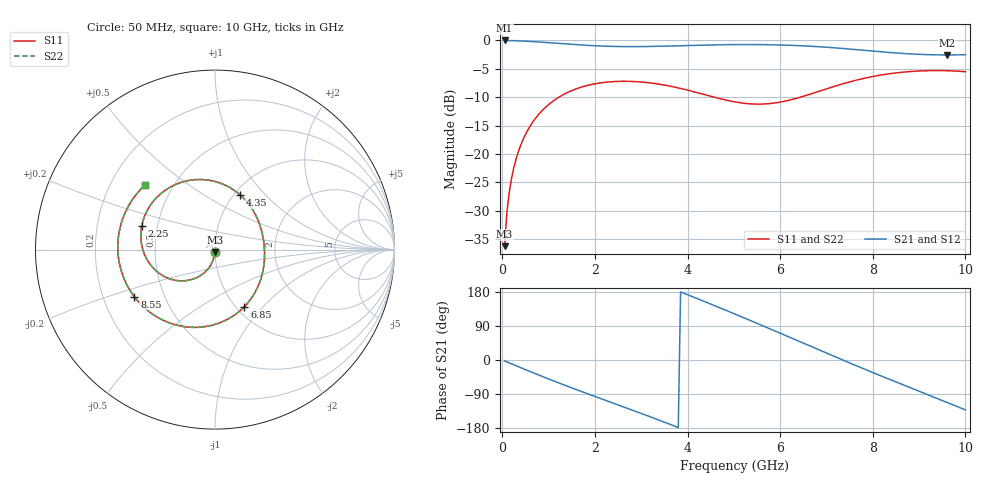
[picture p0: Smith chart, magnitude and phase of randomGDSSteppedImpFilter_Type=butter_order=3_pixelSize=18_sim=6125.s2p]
! freq	dB(S11)	phase(S11)	dB(S12)	phase(S12)
!  dB(S21)	phase(S21)	dB(S22)	phase(S22)
!S-par simulation data
#  GHz  S  DB  R 50
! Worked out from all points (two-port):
!   200 points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, 50 MHz to 10 GHz, reference 50 ohm
!   highest |S21| = 0.00 dB at 50 MHz (marker M1); lowest = -2.6 dB at 9.6 GHz (marker M2)
!   |S21| within 3 dB of the highest: start of sweep to end of sweep
!   lowest |S11| = -36.2 dB at 50 MHz (marker M3), VSWR 1.03, Z = 49.9 - j1.54 ohm
!   |S11| at or under -10 dB: start of sweep to 1.221 GHz; 4.578 GHz to 6.435 GHz (1.856 GHz wide, 33.7 % of centre)
!   |S22| runs from -36.2 to -5.3 dB; largest |S21 - S12| = 0
!   S11 on the Smith chart (normalised r, x): 50 MHz: 1.00, -0.03; 2.25 GHz: 0.41, +0.13; 4.35 GHz: 1.07, +0.73; 6.85 GHz: 1.09, -0.79; 8.55 GHz: 0.34, -0.24; 10 GHz: 0.35, +0.35
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0.05  -36.24 -92.5  -0.00 -2.6  -0.00 -2.6  -36.24 -92.5
0.1  -30.24 -95.3  -0.01 -5.2  -0.01 -5.2  -30.24 -95.3
0.2  -24.27 -100.6  -0.03 -10.3  -0.03 -10.3  -24.27 -100.6
0.5  -16.57 -116.0  -0.13 -25.4  -0.13 -25.4  -16.57 -116.0
1.1  -10.66 -145.4  -0.46 -54.8  -0.46 -54.8  -10.66 -145.4
1.75  -8.12 -175.6  -0.83 -85.0  -0.83 -85.0  -8.12 -175.6
2.25  -7.35 161.9  -1.02 -107.4  -1.02 -107.4  -7.35 161.9
2.8  -7.22 137.4  -1.09 -131.9  -1.09 -131.9  -7.22 137.4
3.4  -7.72 110.3  -1.03 -159.3  -1.03 -159.3  -7.72 110.2
3.9  -8.55 86.8  -0.91 177.1  -0.91 177.1  -8.55 86.8
4.35  -9.50 65.0  -0.81 155.1  -0.81 155.1  -9.50 65.0
5.05  -10.86 30.3  -0.73 120.0  -0.73 120.0  -10.86 30.3
5.45  -11.21 10.1  -0.73 99.4  -0.73 99.4  -11.21 10.0
5.85  -11.05 -10.5  -0.77 78.6  -0.77 78.6  -11.05 -10.6
6.7  -9.33 -54.9  -1.04 34.0  -1.04 34.0  -9.33 -55.0
6.85  -8.93 -62.8  -1.11 26.1  -1.11 26.1  -8.93 -62.9
7.55  -7.19 -99.3  -1.55 -10.3  -1.55 -10.3  -7.19 -99.3
8.35  -5.88 -139.8  -2.12 -50.5  -2.12 -50.5  -5.88 -139.8
8.55  -5.67 -149.7  -2.24 -60.3  -2.24 -60.3  -5.67 -149.7
9.05  -5.36 -174.5  -2.47 -84.7  -2.47 -84.7  -5.36 -174.4
9.6  -5.33 158.0  -2.56 -111.6  -2.56 -111.6  -5.33 158.0
10  -5.51 137.5  -2.52 -131.8  -2.52 -131.8  -5.51 137.5
